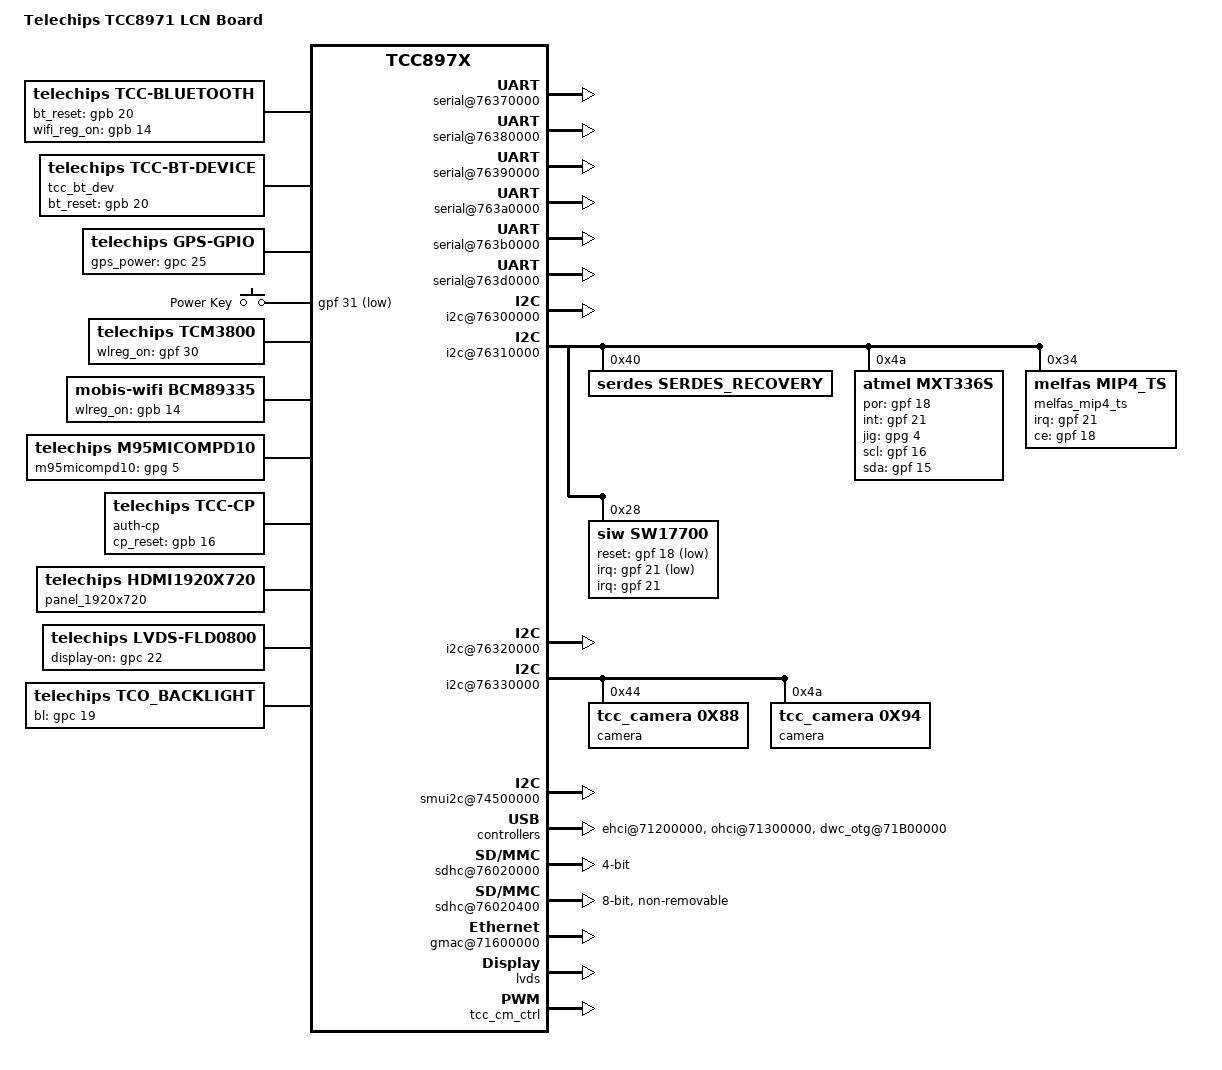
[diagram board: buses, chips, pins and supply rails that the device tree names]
/*
 * Copyright (C) 2015 Telechips - http://www.telechips.com/
 *
 * This program is free software; you can redistribute it and/or modify
 * it under the terms of the GNU General Public License version 2 as
 * published by the Free Software Foundation.
 */

#include "tcc/tcc8971.dtsi"

/ {
	model = "Telechips TCC8971 LCN Board";
	compatible = "telechips,tcc8971-lcn", "telechips,tcc897x";

	chosen {
		/* DAUDIO BEGIN */
		/*
		bootargs = "vmalloc=480M console=ttyS0,115200n8";
		*/
		bootargs = "vmalloc=480M console=ttyTCC0,115200n8";
		/* DAUDIO END */
		linux,initrd-start = <0x81000000>;
		linux,initrd-end = <0x81400000>;
	};

	ckc@74000000 {
		adjust-audio-clk;	/* adjust audio clock for A2DP plaing */
	};

	/* console */
	serial@76370000 {
		/*pinctrl-names = "default";*/
		pinctrl-names = "default", "idle", "active";
		pinctrl-0 = <&uart22_data>;
		pinctrl-1 = <&uart22_idle>;
		pinctrl-2 = <&uart22_data>;
		debug-gpio = <&gpc 22 0>;
		status = "okay";
	};

	/* bluetooth */
	serial@76380000 {
		pinctrl-names = "default";
		/* DAUDIO BEGIN*/
		/*
		pinctrl-0 = <&uart29_data &uart29_rtscts>;
		*/
		pinctrl-0 = <&uart26_data &uart26_rtscts>;
		/* DAUDIO END */
		status = "okay";
	};

	bluetooth {
		compatible = "telechips, tcc-bluetooth";
		/* DAUDIO BEGIN*/
		/*
		bt_reg_on-gpio = <&gpsd 10 0>;
		wifi_reg_on-gpio = <&gpf 30 0>;
		*/
		bt_reset-gpio = <&gpb 20 0>;
		wifi_reg_on-gpio = <&gpb 14 0>;
		/* DAUDIO END */
		status = "okay";
	};
	
	/* DAUDIO BEGIN */	
	tcc_bt_dev {
		compatible = "telechips, tcc-bt-device";
		bt_reset-gpio = <&gpb 20 0>;
		status = "okay";
	};
	/* DAUDIO END */

	/* DAUDIO BEGIN */	
	/* Micom */
	serial@76390000 {
		pinctrl-names = "default";
		pinctrl-0 = <&uart12_data>;
		status = "okay";
	};
	/* DAUDIO END */

	/* GPS */
	serial@763a0000 {
		pinctrl-names = "default";
		/* DAUDIO BEGIN */
		/*
		pinctrl-0 = <&uart9_data &uart9_rtscts>;
		*/
		pinctrl-0 = <&uart23_data>;
		/* DAUDIO END */
		status = "okay";
	};

	/* DAUDIO BEGIN */
	/* SIRIUS */
	serial@763b0000 {
		pinctrl-names = "default";
		pinctrl-0 = <&uart20_data>;
		pinctrl-1 = <&sxm_uart20_data>;	
		status = "okay";
                /* check sirius tab */
                int-gpio = <&gpe 7 0>;
	};

	/* EX_CDP */
	serial@763d0000 {
		pinctrl-names = "default";
		pinctrl-0 = <&uart13_data>;
		status = "okay";
	};
	/* DAUDIO END */

	gps-gpio {
		compatible = "telechips, gps-gpio";
		gps_power-gpios = <&gpc 25 0>;
	};

/*
	add dummy key for booting  - start -
 */
	pinctrl@74200000 {
		gpio_powerkey: gpio_powerkey {
			telechips,pins = "gpf-31";
			telechips,pin-function = <0>;
			telechips,input-enable;
			telechips,pull-up;
		};
	};

	gpio_keys_polled {
		compatible = "gpio-keys-polled";
		pinctrl-names = "default";
		pinctrl-0 = <&gpio_powerkey>;
		#address-cells = <1>;
		#size-cells = <0>;
		poll-interval = <100>;
		autorepeat;
		button@0 {
			label = "Power Key";
			linux,code = <116>;
			gpios = <&gpf 31 1>;
		};
	};
/*
	add dummy key for booting  - end -
 */

	//IPOD, RTC, FM8802
	i2c@76300000 {
		status = "okay";
		port-mux = <22>;
		pinctrl-names = "default";
		pinctrl-0 = <&ws5_ipod_i2c22_bus>;
		
	};

	//touch
	i2c@76310000 {
		status = "okay";
		port-mux = <21>;
		pinctrl-names = "default";
		pinctrl-0 = <&ws5_touch_i2c21_bus>;

		serdes@40 {
                        compatible = "serdes,serdes_recovery";
                        reg = <0x40>;
                };

		mxt336s@4A {
			compatible = "atmel,mxt336s";
			reg = <0x4A>;
			por-gpios = <&gpf 18 0>;
			int-gpios = <&gpf 21 0>;
			jig-gpios = <&gpg 4 0>;
			scl-gpios = <&gpf 16 0>;
			sda-gpios = <&gpf 15 0>;
			max-x = <799>;
			max-y = <479>;
		};
		melfas_mip4_ts@34{
			compatible = "melfas,mip4_ts";
			reg = <0x34>;
			irq-gpio = <&gpf 21 0>; 
			ce-gpio = <&gpf 18 0>;
		};
		sw17700@28 {				// define new client device(sw17700), slave addr is 0x28
			status = "okay";
			compatible = "siw,sw17700";	// compatible name (see touch_sw17700.c)
			reg = <0x28>;
			interrupt-parent = <&gpf>;
			interrupts = <21 0x02>;
			irqflags = <0x2002>;

			chip_flags = <0x0>;

			reset-gpio = <&gpf 18 1>;
			irq-gpio = <&gpf 21 1>;

			// Caps
			/* Resolution
			 *     [10.25] [12.3]
			 * X :  1920    1920
			 * Y :   720     720
			 */
			max_x = <1920>;
			max_y = <720>;
			max_pressure = <0xff>;
			max_width = <15>;
			max_orientation = <1>;
			max_id = <10>;

			// role
			hw_reset_delay = <210>;
			sw_reset_delay = <90>;
			use_lpwg = <0>;
			use_lpwg_test = <0>;
	
			// firmware
			use_firmware = <1>;		// enable firmware control
			use_fw_upgrade = <1>;		// auto-update during driver initialization
		//	fw_image = "siw/LA103WF5_8_04.img";	// in android -> /lib/firmware/siw/...
		//	fw_image = "{root}/siw/sw17700/LA103WF5_0_01.img";	// in android -> /siw/... (absolute path)
		//	panel_spec = "siw/sw17700/ph1_limit.txt";
		//	panel_spec_mfts = "siw/sw17700/ph1_limit_mfts.txt";
	
			//absoulte path
			prd_in_file = "/sdcard/siw/sw17700_test_spec_V0.1.txt";
			prd_in_file_m = "/sdcard/siw/sw17700_test_spec_mfts_V0.1.txt";
			prd_out_file = "/sdcard/siw/touch_self_test.txt";
		//	prd_out_file_mo_aat = "/sdcard/siw/touch_self_mfts_aat.txt";
		//	prd_out_file_mo_mfo = "/sdcard/siw/touch_self_mfts_mfo.txt";
		//	prd_out_file_mo_mfl = "/sdcard/siw/touch_self_mfts_mfl.txt";
		//	prd_out_file_mo_mcv = "/sdcard/siw/touch_self_mfts_mcv.txt";
		};
	};

    /* i2c SABRE */
    i2c@76320000 { // DAUDIO 76330000 -> 76320000
        status = "okay";
        port-mux = <24>; /* br: port-mux = <20>*/
        pinctrl-names = "default","br";
        pinctrl-0 = <&i2c24_bus>;
	pinctrl-1 = <&i2c20_bus>;
    };

	/* i2c3 */
	i2c@76330000 { // DAUDIO 76320000 -> 76330000
		status = "okay";
		port-mux = <23>;
		pinctrl-names = "default";
		pinctrl-0 = <&i2c23_bus>;

       		camera@88 {
			compatible = "tcc_camera,0x88";
			reg = <0x44>; /* check slave address */
		};	

		camera@94 {
			compatible = "tcc_camera,0x94";
			reg = <0x4A>; /* check slave address */
		};
	};

	smui2c@74500000 {
		status = "okay";
	};

	ehci_phy@71EA0010 {
		status = "okay";
		//vbus-ctrl-able;
		//vbus-gpio = <&gpsd 9 0>;
	};

	ehci@71200000 {
		status = "okay";
		/* DAUDIO BEGIN
		vbus-ctrl-able;
		vbus-gpio = <&gpsd 9 0>;
		DAUDIO END */
	};

	ohci@71300000 {
		status = "okay";
		/* DAUDIO BEGIN
		vbus-ctrl-able;
		vbus-gpio = <&gpsd 9 0>;
		DAUDIO END */
	};

	dwc_otg_phy@71EA0100 {
	        status = "okay";
	        vbus-ctrl-able;
	        vbus-gpio = <&gpc 29 0>;
	};

	dwc_otg@71B00000 {
		status = "okay";
		phy-type = <1>;     //pico phy = 1, nano phy = 0
		/* DAUDIO BEGIN
		vbus-ctrl-able;
		vbus-gpio = <&gpsd 8 0>;
		DAUDIO END */
		vbus-ctrl-able;
		vbus-gpio = <&gpc 29 0>;
	};

	/* sd0 WIFI */
	sdhc@76020000 {
		status = "okay";
		controller-id = <0>;
		bus-width = <4>;
		/*max-frequency = <50000000>;*/
		max-frequency = <50000000>;
		cd-inverted;
		/*non-removable;*/
		/* DAUDIO BEGIN */
		/*
		cd-gpios = <&gpf 21 0>;
		//broken-cd;
		//wp-inverted;
		wp-gpios = <&gpf 20 0>;
		pinctrl-names = "default", "active";
		pinctrl-0 = <&sd5_clk_idle &sd5_cmd_idle &sd5_bus4_idle>;
		pinctrl-1 = <&sd5_clk &sd5_cmd &sd5_bus4>;
		//vctrl-gpio = <&gpsd 10 0>;
		pwr-gpio = <&gpb 28 0>;

		cap-sdio-irq;
		//cd-polling;
		*/
		pinctrl-names = "default", "active";
		/* pinctrl change */
		pinctrl-0 = <&sd5_clk_idle &sd5_cmd_idle &sd5_bus4_idle>;
		pinctrl-1 = <&sd5_clk &sd5_cmd &sd5_bus4>;

		cap-sdio-irq;
		//cd-polling;
		wifi-polling;
		ext32-enable;
		cap-adma;
		/* DAUDIO END */

		cap2-no-sleep-cmd;
		cap-bus-width-test;

		/* SD 3.0 SDR50 */
		//cap-uhs-sdr50;
		//cap-uhs-driver_type_c;

		/* High-speed DDR (emmc & SD3.0 DDR50) */
		cap-uhs-ddr50;
		cap-1-8V-ddr;
		/* SD 3.0 Command */
		cap-vdd-165-195;

		/* High-speed SDR */
		cap-sd-highspeed;
		cap-mmc-highspeed;

		/*keep-power-in-suspend;*/
		/*enable-sdio-wakeup;*/
		/*cap-power-off-card;*/

		/* tcc-clock-control; */

		no-mmc;
	};

	//eMMC Boot
	sdhc@76020400 {
		status = "okay";
		controller-id = <2>;
		/* DAUDIO BEGIN */
		/*
		bus-width = <4>;
		max-frequency = <50000000>;
		cd-inverted;
		*/
		bus-width = <8>;
		max-frequency = <50000000>;
		non-removable;
		/* DAUDIO END */
		/*cd-gpios = <&gpb 13 0>;*/
		/*wp-gpios = <&gpext1 3 0>;*/
		/* DAUDIO BEGIN */
		/*
		pinctrl-names = "default", "active";
		pinctrl-0 = <&sd0_clk_idle &sd0_cmd_idle &sd0_bus4_idle &out0_clk>;
		pinctrl-1 = <&sd0_clk &sd0_cmd &sd0_bus4 &out0_clk>;
		*/
		pinctrl-names = "default";
		pinctrl-0 = <&sd0_clk &sd0_cmd &sd0_bus8>;
		/* DAUDIO END */
		clocks = <&clk_peri PERI_SDMMC2 &clk_io IOBUS_SDMMC2 &clk_peri PERI_OUT0>;
		/*pwr-gpio = <&gpext2 10 0>;*/

		cap-sdio-irq;

		/* High-speed SDR */
		cap-sd-highspeed;
		cap-mmc-highspeed;

		/* DAUDIO BEGIN */
		/* set double data rate mode */
		cap-uhs-ddr50;
		cap-1-8V-ddr;
		/* DAUDIO END */

		cap2-no-sleep-cmd;
		cap-bus-width-test;

		/* DAUDIO BEGIN */
		/*
		wifi-polling; // tcm3800 polling
		ext32-enable; // make_rtc
		cap-adma;
		*/
		/* DAUDIO END */

		tcc-kpanic;
		tcc-clock-control;

		no-sdio;
		no-sd;
		cap-erase;
	};

	//SD Card (map/booting)
	sdhc@76020600 {
		status = "disabled";
		controller-id = <3>;
		/* DAUDIO BEGIN */
		/*
		bus-width = <8>;
		max-frequency = <50000000>;
		non-removable;
		*/
		bus-width = <4>;
		max-frequency = <24000000>;
		cd-inverted;
		cd-gpios = <&gpa 15 0>;
		wp-gpios = <&gpa 13 0>;
		pwr-gpio = <&gpa 14 0>;
		/* DAUDIO END */
		pinctrl-names = "default", "active";
		/* DAUDIO BEGIN */
		/*
		pinctrl-0 = <&sd3_clk_idle &sd3_cmd_idle &sd3_bus8_idle>;
		pinctrl-1 = <&sd3_clk &sd3_cmd &sd3_bus8>;
		*/
		pinctrl-0 = <&sd3_clk_idle &sd3_cmd_idle &sd3_bus4_idle>;
		pinctrl-1 = <&sd3_clk &sd3_cmd &sd3_bus4>;
		/* DAUDIO END */

		cap-sdio-irq;

		cap-bus-width-test;
		cap2-no-sleep-cmd;

		cap-sd-highspeed;
		cap-mmc-highspeed;

		/* DAUDIO BEGIN */
		/*
		cap-1-8V-ddr;
		cap-uhs-ddr50;
		*/
		/* DAUDIO END */

		//tcc-kpanic;

		/* tcc-clock-control; */

		no-sdio;
		no-mmc;
	};

	tcm3800 {
		compatible = "telechips, tcm3800";
		wlreg_on-gpio = <&gpf 30 0>; /* SDWF_RST# */
	};

	bcm89335 {
		compatible = "mobis-wifi, bcm89335";
		wlreg_on-gpio = <&gpb 14 0>; /* D-Audio 1.1 MOBIS_WIFI Power On/OFF GPIO */
	};

/*
	tcc_dxb_drv {
		compatible = "telechips,tcc_dxb_drv";
	};

	tcc_dxb_internal {
		compatible = "telechips,tcc_dxb_internal";
		hwdmx_num = <2>;
	};
*/

	//M95 MICOM PD10
	m95micompd10 {
		compatible = "telechips, m95micompd10";
		m95micompd10-gpio = <&gpg 5 0>; 
	};
	/* DAUDIO END */
	
	/* CP */
	auth-cp {
		compatible = "telechips, tcc-cp";
		/* DAUDIO BEGIN */
		/*
		cp-type = <1>;      // 2.0C = 1, 2.0B = 0
		i2c-channel = <2>;      // 0 ~ 3
		 */
		/* DAUDIO 1.0 reference*/
		cp-type = <0>;      // 2.0C = 1, 2.0B = 0
		i2c-channel = <0>;      // 0 ~ 3
		/* DAUDIO END */
		// power-ctrl-able;
		// cp_power-gpio = <&gpext2 14 0>;
		/* DAUDIO BEGIN */
		/*
		cp_reset-gpio = <&gpg 19 0>;
		*/
		cp_reset-gpio = <&gpb 16 0>;
		/* DAUDIO END */
	};

	/* Audio 0 */
	i2s@76201000 {
		pinctrl-names = "default";
		pinctrl-0 = <&mdai_clks &mdai_d0>;
		/* DAUDIO BEGIN */
		/*
		status = "okay";
		*/
		status = "disabled";
		/* DAUDIO END */
	};




	/* DAUDIO BEGIN */
	/* Audio ch0 */
	cdif@76201080 {
		pinctrl-names = "default";
		pinctrl-0 = <&mcdif_clks &mcdif_d0>;
		status = "disabled";
	};

	/* Audio ch3 */
	cdif@76101080 {
		pinctrl-names = "default";
		pinctrl-0 = <&scdif_clks &scdif_d0>;
		status = "okay";
	};
	/* DAUDIO END */


	dummy: dummy@0 {
		compatible = "telechips,dummy";
	};

	fbdisplay: fbdisplay@72000000 {
                telechips,fbdisplay_num = <0>;
                status ="okay";
        };

        panel_1920x720 {
        status = "okay";
        compatible = "telechips,hdmi1920x720";
        clocks = <&clk_peri PERI_LCD0>, <&clk_peri PERI_LCD1>, <&clk_peri PERI_HDMI>, <&clk_ddi DDIBUS_HDMI>, <&clk_isoip_top ISOIP_TOP_HDMI>, <&clk_peri PERI_HDMI_PCLK>;
        clock-names = "lcdc0-clk", "lcdc1-clk", "hdmi-lclk", "hdmi-hclk", "hdmi-phy", "hdmi-pclk";
};

        fld0800 {
                compatible = "telechips,lvds-fld0800";
                status = "okay";
                lvds0 = <&lvds>;
//              power-on-gpios  = ;                     //LCD_ON
                display-on-gpios        = <&gpc 22 0>;          //LCD_DISP
//              reset-gpios             = <&gpf 19 0>;          //LCD_RST
//              lvds-stby-gpios         = <&gpb 19 0>;          //LCD_DE = LVDS_STBY in LVDS
//              lvds-power-gpios        = ;                     //LVDS_EN
//              lvds-power-gpios1       = ;                     //V_5V0_EN
        };

	overlaymixer:overlaymixer@72400000 {
//		status ="okay";
		contiguousSize = <0x1000000>;  /* 16MB (if > 512MB RAM) refer to Guide 27 Page */
		baseAddress = <0x80000000>;
		physSize = <0x80000000>; /*  DRAM size (0x40000000 = 1GB, 0x80000000 = 2GB) */
	};

	tcc_vsync_drv {
		compatible = "telechips,tcc_vsync";
		display-vioc0 = <&vioc_display0>;
		display-vioc1 = <&vioc_display1>;
		status = "okay";
	};

	tcc_video_viqe {
		compatible = "telechips,tcc_viqe";
		status ="okay";

		tcc_video_viqe_lcd {
			telechips,sc = <&vioc_scaler 3>;
			scaler_num_60 = <3>;
		};
	};

	vioc_lut:vioc_lut@72009000{
		status = "okay";
	};

	/* DAUDIO BEGIN */
	//micom cpu spi
	gpsb0@76900000 {
		status = "okay";
		gpsb-port = <21>;
		gpsb-id = <0>;
		port-mux = <21>;
		pinctrl-names = "default", "active", "idle";
		pinctrl-0 = <&gpsb21_bus>;
		pinctrl-1 = <&gpsb21_bus>;
		pinctrl-2 = <&gpsb21_idle>;

	};
	/* DAUDIO END */

	tcc_overlay_drv {
		compatible = "telechips,tcc_overlay";
		fbdisplay-overlay = <&fbdisplay>;
		clocks = <&clk_ddi DDIBUS_VIOC>;
		rdmas = <&vioc_rdma3 >, <&vioc_rdma7>;
		wmixs = <&vioc_wmix0 100 >, <&vioc_wmix1 100>;
		status = "okay";
	};


	wdma_drv0:wdma_drv@0 {
		compatible = "telechips,tcc_wdma";
		status = "okay";
		clocks = <&clk_fbus FBUS_DDI>;
		wdma-fbdisplay = <&fbdisplay>;
		scalers = <&vioc_sc2 20>, <&vioc_sc2 21>;	/* id:1, path:20 (wdma 0 path), 21(wdma 1 path) */
		wdmas = <&vioc_wdma0>, <&vioc_wdma1>;	/* id:1, path: wmix output mixed pah */
		wmixs = <&vioc_wmix0 0 >, <&vioc_wmix1 2>;	/* id:1, path: input rdma mixed path */
	};

	scaler_drv@1 {
		rdmas = <&vioc_rdma15>;
		scalers = <&vioc_sc1 15>;	/* id:1, path:17 */
		wmixs = <&vioc_wmix4 100>;	/* id:5, path:6 */
		wdmas = <&vioc_wdma4>;
		settop_support = <0>;
		status = "okay";
	};

	scaler_drv@3 {
		rdmas = <&vioc_rdma7>;
		scalers = <&vioc_sc3 7>;	/* id:3, path:7 */
		wmixs = <&vioc_wmix1 2>;	/* id:1, path:2 */
		wdmas = <&vioc_wdma1>;
		settop_support = <0>;
		status = "okay";
	};

	wmixer_drv@0 {
		rdmas = <&vioc_rdma15>;
		scalers = <&vioc_sc0 15>;	/* id:0, path:15 */
		wmixs = <&vioc_wmix4 100>;	/* id:5, path:- */
		wdmas = <&vioc_wdma4>;
		status = "disabled";
	};

	wmixer_drv@1 {
		rdmas = <&vioc_rdma13>;
		scalers = <&vioc_sc2 13>;
		wmixs = <&vioc_wmix3 100>;	/* id:3, path:- */
		wdmas = <&vioc_wdma3>;
		status = "okay";
	};

	gmac@71600000 {
		status = "okay";
		phyrst-gpio = <&gpc 10 0>;
		//phyon-gpio = <&gpc 19 0>;
		phy-interface = "rmii";
		ecid-mac-addr;
		txclk-o-dly = <0>; // changed from <29>;
		txclk-o-inv = <0>;
		txclk-i-dly = <0>;
		txclk-i-inv = <0>;
		txen-dly = <0>;
		txer-dly = <0>;
		txd0-dly = <0>;
		txd1-dly = <0>;
		txd2-dly = <0>; // <3>;
		txd3-dly = <0>; // <3>;
		txd4-dly = <0>;
		txd5-dly = <0>;
		txd6-dly = <0>;
		txd7-dly = <0>;
		rxclk-i-dly = <0>;
		rxclk-i-inv = <0>;
		rxdv-dly = <0>; // changed from <15>;
		rxer-dly = <0>;
		rxd0-dly = <0>; //<22>;
		rxd1-dly = <0>; //<20>;
		rxd2-dly = <0>; //<20>;
		rxd3-dly = <0>; //<21>;
		rxd4-dly = <0>;
		rxd5-dly = <0>;
		rxd6-dly = <0>;
		rxd7-dly = <0>;
		crs-dly = <0>;
		col-dly = <0>;
		pinctrl-names = "default", "mii", "rmii", "gmii", "rgmii";
		pinctrl-0 = <>;
		pinctrl-1 = <&gmac1_mdc &gmac1_mdio &gmac1_col &gmac1_crs &gmac1_txer &gmac1_rxer
					 &gmac1_txclk &gmac1_txen &gmac1_txd0 &gmac1_txd1 &gmac1_txd2 &gmac1_txd3
					 &gmac1_rxclk &gmac1_rxdv &gmac1_rxd0 &gmac1_rxd1 &gmac1_rxd2 &gmac1_rxd3>;
		pinctrl-2 = <&gmac1_mdc &gmac1_mdio
					 &gmac1_txclk &gmac1_txen &gmac1_txd0 &gmac1_txd1
					 &gmac1_rxer &gmac1_rxd0 &gmac1_rxd1 &gmac1_crs>;
		pinctrl-3 = <&gmac1_mdc &gmac1_mdio &gmac1_col &gmac1_crs &gmac1_txer &gmac1_rxer
					 &gmac1_txclk &gmac1_txen &gmac1_txd0 &gmac1_txd1 &gmac1_txd2 &gmac1_txd3
					 &gmac1_txd4 &gmac1_txd5 &gmac1_txd6 &gmac1_txd7
					 &gmac1_rxclk &gmac1_rxdv &gmac1_rxd0 &gmac1_rxd1 &gmac1_rxd2 &gmac1_rxd3
					 &gmac1_rxd4 &gmac1_rxd5 &gmac1_rxd6 &gmac1_rxd7>;
		pinctrl-4 = <&gmac1_mdc &gmac1_mdio 
					 &gmac1_txclk &gmac1_txen &gmac1_txd0 &gmac1_txd1 &gmac1_txd2 &gmac1_txd3 
					 &gmac1_rxclk &gmac1_rxdv &gmac1_rxd0 &gmac1_rxd1 &gmac1_rxd2 &gmac1_rxd3>;
	};

	lvds: lvds@72380040{
		status = "okay";
	};

	backlight {
		compatible = "telechips,tco_backlight";
		tco = <1 50>;	/* unit:nsec. */
		bl-gpios = <&gpc 19 4>;
		bl-gpio-func = <4>;
		default-brightness = <102>;	/* MAX:255 */
		status = "okay";
	};

		thermal@74700000 {
		compatible = "telechips,tcc-thermal";
		reg = <0x74700000 0x4 0x74700030 0x4 0x74200290 0x4 0x7420029C 0x4>;

        throttle_count = <5>;
        throttle_active_count = <0>;
        throttle_passive_count = <5>;

        cal_type = "TYPE_NONE";
        polling-delay-idle = <0>;
        polling-delay-passive = <0>;

        throttle_table {
            throttle_tab_0 {
                temp = <75>;
                freq_max_cluster0 = <1000000>;
                freq_max_cluster1 = <900000>;
            };
            throttle_tab_1 {
                temp = <80>;
                freq_max_cluster0 = <900000>;
                freq_max_cluster1 = <810000>;
            };
            throttle_tab_2 {
                temp = <85>;
                freq_max_cluster0 = <800000>;
                freq_max_cluster1 = <720000>;
            };
            throttle_tab_3 {
                temp = <90>;
                freq_max_cluster0 = <700000>;
                freq_max_cluster1 = <630000>;
            };
            throttle_tab_4 {
                temp = <95>;
                freq_max_cluster0 = <600000>;
                freq_max_cluster1 = <540000>;
            };
        };
	};
	tcc_cm_ctrl: tcc_cm_ctrl {
		/* DAUDIO BEGIN */
		gear-gpios = <&gpe 8 0>;
		/* DAUDIO END */
		tcc_cm_bus = <&cm_bus>;
		gear-active = <1>;
		status = "okay";
	};

	/* SPI : It is changed by nation. Not Here*/
	/*
    gpsb1@76910000 {
    		status = "okay";
		gpsb-gpios = <&gpb 23 0>, <&gpb 24 0>, <&gpb 25 0>, <&gpb 26 0>;
		gpsb-func = <9>;
		gpsb-port = <5>;
		gpsb-id = <1>;

		port-mux = <5>;
		pinctrl-names = "default";
		pinctrl-0 = <&gpsb5_bus>;
	};

	gpsb1@76910000 {
		status = "okay";
		tsif-gpios = <&gpe 16 0>, <&gpe 17 0>, <&gpe 18 0>, <&gpe 19 0>;
		tsif-port = <6>;
		tsif-func = <1>;

		port-mux = <1>;
		pinctrl-names = "default";
		pinctrl-0 = <&tsif6_bus>;
		};
	gpsb1@76910000 {
		status = "okay";
        	gpsb-gpio = <&gpd 11 0>, <&gpd 12 0>, <&gpd 13 0>, <&gpd 14 0>;
        	gpsb-port = <10>;
        	gpsb-func = <6>;

        	tsif-gpios = <&gpe 16 0>, <&gpe 17 0>, <&gpe 18 0>, <&gpe 19 0>;
        	tsif-port = <6>;
        	tsif-func = <1>;

        	port-mux = <10>;
        	pinctrl-names = "default";
        	pinctrl-0 = <&gpsb10_bus>;
	};
	*/
	
    	/* CMMB CIF */
    	cmmb {
        	compatible = "telechips-cmmb";
        	status = "okay";
        	pinctrl-names = "default";
        	pinctrl-0 = <&cam0_clki &cam0_hsync &cam0_vsync &cam0_data>;
        	clocks = <&clk_peri PERI_OUT3 &clk_ddi DDIBUS_VIOC>;
    	};

/*    	
    	camera {
        	compatible = "telechips-camera";
        	status = "okay";
        	pinctrl-names = "default";
        	pinctrl-0 = <&cam4_clki &cam4_data>;
        	clocks = <&clk_peri PERI_OUT3 &clk_ddi DDIBUS_VIOC>;
        	camera_port = <&cifport 4>;
        	camera_wmixer = <&vioc_wmixer 5>;
        	camera_wdma = <&vioc_wdma 5>;
        	camera_videoin = <&vioc_vin 4 0>;
        	camera_scaler = <&vioc_scaler 0>;
        	camera_config = <&vioc_config 0>;
        	camera_viqe = <&vioc_viqe 0>;
    	};
*/
    	


